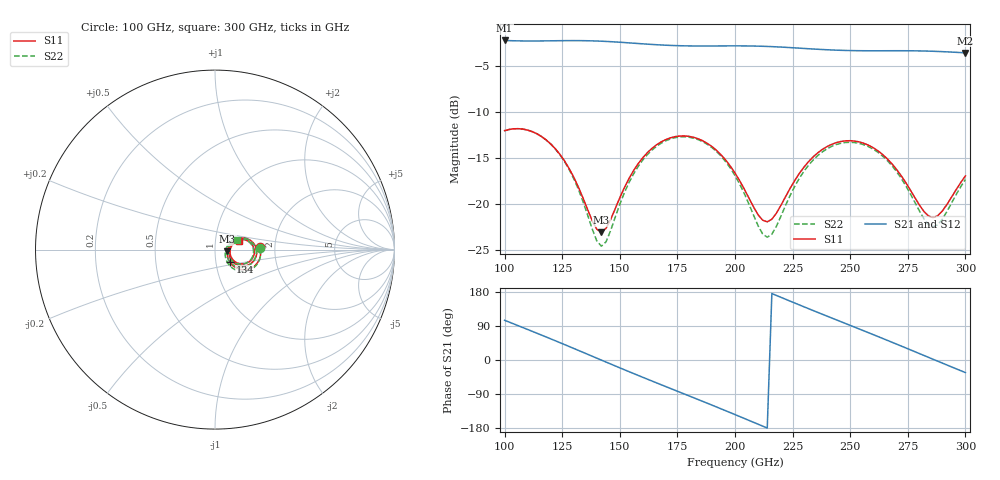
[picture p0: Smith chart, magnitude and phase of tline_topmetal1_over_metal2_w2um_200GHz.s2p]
#  GHZ S DB R 50
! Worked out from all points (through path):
!   101 points, 100 GHz to 300 GHz, reference 50 ohm
!   highest |S21| = -2.27 dB at 100 GHz (marker M1); lowest = -3.6 dB at 300 GHz (marker M2)
!   group delay of S21, straight-line fit = 6.92 ps
!   lowest |S11| = -23.1 dB at 142 GHz (marker M3), VSWR 1.15, Z = 57.5 - j0.979 ohm
!   |S11| at or under -10 dB: start of sweep to end of sweep
!   |S22| runs from -24.6 to -11.9 dB; largest |S21 - S12| = 8.3e-14
!   S11 on the Smith chart (normalised r, x): 100 GHz: 1.66, +0.05; 134 GHz: 1.17, -0.16; 300 GHz: 1.30, +0.13
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100  -12.06 3.0  -2.27 104.9  -2.27 104.9  -12.07 1.8
108  -11.90 -11.3  -2.32 85.4  -2.32 85.4  -11.90 -13.1
116  -12.70 -25.1  -2.32 65.8  -2.32 65.8  -12.70 -27.8
126  -15.35 -39.2  -2.29 40.7  -2.29 40.7  -15.42 -43.4
134  -19.36 -40.1  -2.29 20.3  -2.29 20.3  -19.74 -46.6
142  -23.10 -7.0  -2.35 -0.2  -2.35 -0.2  -24.61 -10.3
156  -16.40 24.7  -2.57 -35.8  -2.57 -35.8  -16.75 26.5
168  -13.28 9.9  -2.76 -65.4  -2.76 -65.4  -13.42 9.9
176  -12.65 -3.0  -2.84 -84.8  -2.84 -84.8  -12.75 -3.8
184  -12.95 -15.9  -2.87 -104.3  -2.87 -104.3  -13.04 -17.7
192  -14.21 -27.6  -2.87 -124.0  -2.87 -124.0  -14.34 -30.5
200  -16.66 -34.8  -2.86 -144.0  -2.86 -144.0  -16.94 -39.6
210  -21.19 -22.3  -2.89 -169.4  -2.89 -169.4  -22.38 -28.5
214  -21.97 -5.0  -2.92 -179.6  -2.92 -179.6  -23.64 -7.2
224  -18.30 22.0  -3.04 155.2  -3.04 155.2  -19.06 25.8
234  -14.90 17.1  -3.20 130.3  -3.20 130.3  -15.23 19.5
250  -13.16 -5.4  -3.37 91.4  -3.37 91.4  -13.33 -4.8
258  -13.65 -17.2  -3.39 71.9  -3.39 71.9  -13.81 -17.4
268  -15.63 -28.9  -3.39 47.2  -3.39 47.2  -15.84 -30.4
278  -19.31 -28.1  -3.40 22.1  -3.40 22.1  -19.82 -31.0
286  -21.50 -4.5  -3.44 1.9  -3.44 1.9  -22.50 -5.0
300  -16.98 20.9  -3.61 -33.2  -3.61 -33.2  -17.37 23.6
